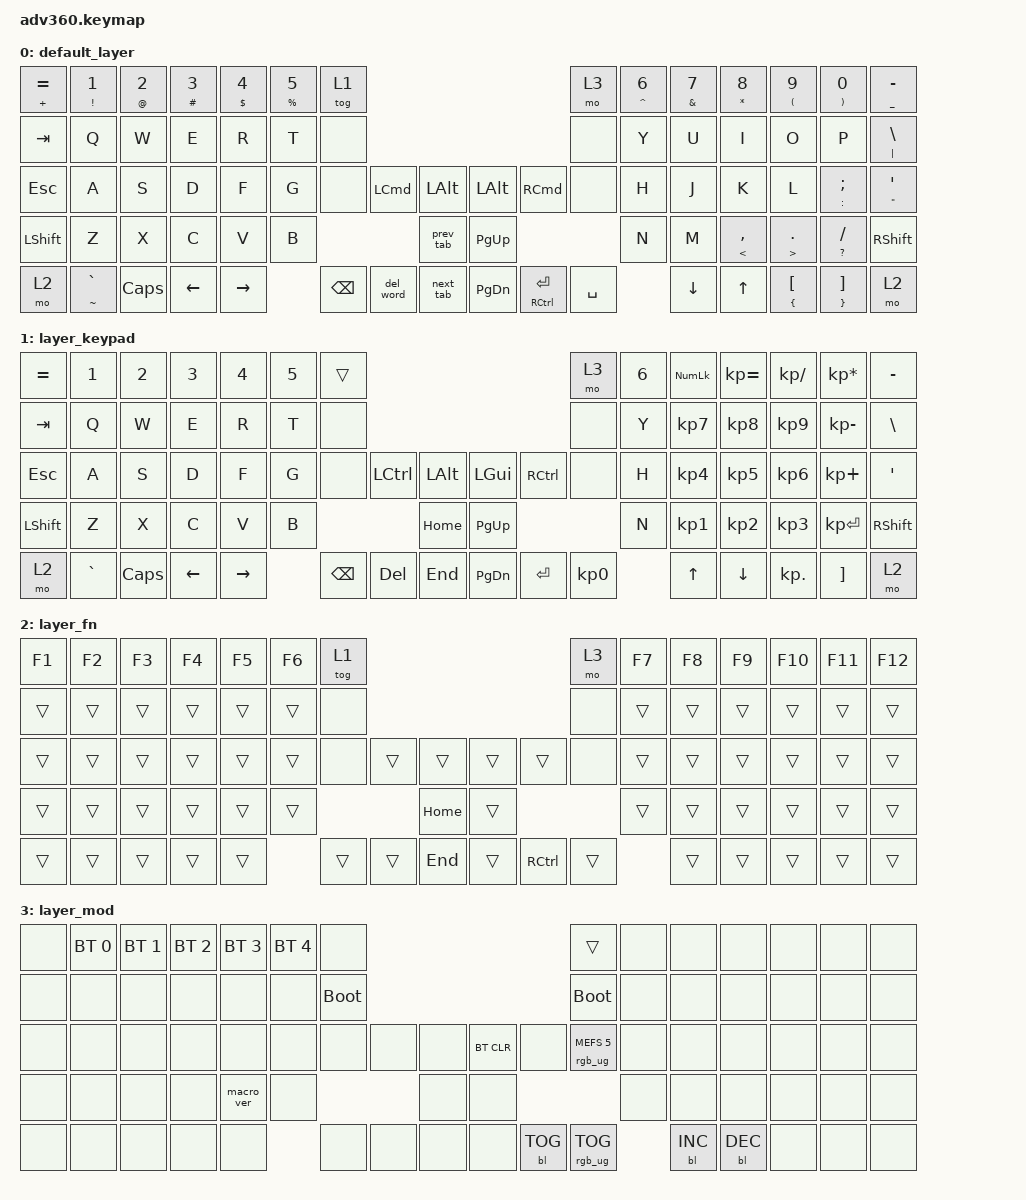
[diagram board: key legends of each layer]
/*
 * Copyright (c) 2020 The ZMK Contributors
 *
 * SPDX-License-Identifier: MIT
 */
/* THIS FILE WAS GENERATED!
 *
 * This file was generated automatically. You may or may not want to
 * edit it directly.
 */

#include <behaviors.dtsi>
#include <dt-bindings/zmk/backlight.h>
#include <dt-bindings/zmk/bt.h>
#include <dt-bindings/zmk/keys.h>
#include <dt-bindings/zmk/rgb.h>

&mt { flavor = "tap-preferred"; };

/ {
    behaviors {
        #include "macros.dtsi"
    #include "version.dtsi"

        hm: homerow_mods {
            compatible = "zmk,behavior-hold-tap";
            label = "HOMEROW_MODS";
            #binding-cells = <2>;
            tapping-term-ms = <200>;
            quick_tap_ms = <175>;
            flavor = "tap-preferred";
            bindings = <&kp>, <&kp>;
        };

        home_key: home_key {
            compatible = "zmk,behavior-hold-tap";
            label = "HOME_KEY";
            bindings = <&kp>, <&prev_tab>;

            #binding-cells = <2>;
            tapping-term-ms = <1>;
            flavor = "tap-preferred";
            hold-trigger-key-positions = <52>;
        };
    };

    macros {
        del_word: del_word {
            compatible = "zmk,behavior-macro";
            #binding-cells = <0>;
            bindings = <&kp LA(BACKSPACE)>;
            label = "DEL_WORD";
        };

        next_tab: next_tab {
            compatible = "zmk,behavior-macro";
            #binding-cells = <0>;
            bindings = <&kp LC(TAB)>;
            label = "NEXT_TAB";
        };

        prev_tab: prev_tab {
            compatible = "zmk,behavior-macro";
            #binding-cells = <0>;
            bindings =
                <&macro_press>,
                <&kp LEFT_SHIFT>,
                <&macro_tap>,
                <&kp LC(TAB)>,
                <&macro_release>,
                <&kp LEFT_SHIFT>;

            label = "PREV_TAB";
        };
    };

    keymap {
        compatible = "zmk,keymap";

        default_layer {
            bindings = <
&mt PLUS EQUAL  &mt EXCL NUMBER_1  &mt AT_SIGN NUMBER_2  &mt HASH NUMBER_3  &mt DOLLAR NUMBER_4  &mt PERCENT N5  &tog 1                                                          &mo 3      &mt CARET NUMBER_6  &mt AMPERSAND N7  &mt ASTERISK N8      &mt LEFT_PARENTHESIS N9      &mt RIGHT_PARENTHESIS N0       &mt UNDER MINUS
&kp TAB         &kp Q              &kp W                 &kp E              &kp R                &kp T           &none                                                           &none      &kp Y               &kp U             &kp I                &kp O                        &kp P                          &mt PIPE BACKSLASH
&kp ESC         &kp A              &kp S                 &kp D              &kp F                &kp G           &none     &kp LCMD   &kp LALT       &kp LALT   &kp RCMD         &none      &kp H               &kp J             &kp K                &kp L                        &mt COLON SEMICOLON            &mt DOUBLE_QUOTES SQT
&kp LSHFT       &kp Z              &kp X                 &kp C              &kp V                &kp B                                &prev_tab      &kp PG_UP                              &kp N               &kp M             &mt LESS_THAN COMMA  &mt GREATER_THAN PERIOD      &mt QUESTION SLASH             &kp RSHFT
&mo 2           &mt TILDE GRAVE    &kp CAPS              &kp LEFT           &kp RIGHT                            &kp BSPC  &del_word  &next_tab      &kp PG_DN  &mt RCTRL ENTER  &kp SPACE                      &kp DOWN          &kp UP               &mt LEFT_BRACE LEFT_BRACKET  &mt RIGHT_BRACE RIGHT_BRACKET  &mo 2
            >;
        };

        layer_keypad {
            bindings = <
&kp EQUAL  &kp N1     &kp N2    &kp N3    &kp N4     &kp N5  &trans                                                   &mo 3      &kp N6  &kp KP_NUM  &kp KP_EQUAL  &kp KP_DIVIDE  &kp KP_MULTIPLY  &kp MINUS
&kp TAB    &kp Q      &kp W     &kp E     &kp R      &kp T   &none                                                    &none      &kp Y   &kp KP_N7   &kp KP_N8     &kp KP_N9      &kp KP_MINUS     &kp BSLH
&kp ESC    &kp A      &kp S     &kp D     &kp F      &kp G   &none     &kp LCTRL  &kp LALT      &kp LGUI   &kp RCTRL  &none      &kp H   &kp KP_N4   &kp KP_N5     &kp KP_N6      &kp KP_PLUS      &kp SQT
&kp LSHFT  &kp Z      &kp X     &kp C     &kp V      &kp B                        &kp HOME      &kp PG_UP                        &kp N   &kp KP_N1   &kp KP_N2     &kp KP_N3      &kp KP_ENTER     &kp RSHFT
&mo 2      &kp GRAVE  &kp CAPS  &kp LEFT  &kp RIGHT          &kp BSPC  &kp DEL    &kp END       &kp PG_DN  &kp ENTER  &kp KP_N0          &kp UP      &kp DOWN      &kp KP_DOT     &kp RBKT         &mo 2
            >;
        };

        layer_fn {
            bindings = <
&kp F1  &kp F2  &kp F3  &kp F4  &kp F5  &kp F6  &tog 1                                           &mo 3   &kp F7  &kp F8  &kp F9  &kp F10  &kp F11  &kp F12
&trans  &trans  &trans  &trans  &trans  &trans  &none                                            &none   &trans  &trans  &trans  &trans   &trans   &trans
&trans  &trans  &trans  &trans  &trans  &trans  &none   &trans  &trans        &trans  &trans     &none   &trans  &trans  &trans  &trans   &trans   &trans
&trans  &trans  &trans  &trans  &trans  &trans                  &kp HOME      &trans                     &trans  &trans  &trans  &trans   &trans   &trans
&trans  &trans  &trans  &trans  &trans          &trans  &trans  &kp END       &trans  &kp RCTRL  &trans          &trans  &trans  &trans   &trans   &trans
            >;
        };

        layer_mod {
            bindings = <
&none  &bt BT_SEL 0  &bt BT_SEL 1  &bt BT_SEL 2  &bt BT_SEL 3  &bt BT_SEL 4  &none                                                  &trans                  &none  &none       &none       &none  &none  &none
&none  &none         &none         &none         &none         &none         &bootloader                                            &bootloader             &none  &none       &none       &none  &none  &none
&none  &none         &none         &none         &none         &none         &none        &none  &none      &bt BT_CLR  &none       &rgb_ug RGB_MEFS_CMD 5  &none  &none       &none       &none  &none  &none
&none  &none         &none         &none         &macro_ver    &none                             &none      &none                                           &none  &none       &none       &none  &none  &none
&none  &none         &none         &none         &none                       &none        &none  &none      &none       &bl BL_TOG  &rgb_ug RGB_TOG                &bl BL_INC  &bl BL_DEC  &none  &none  &none
            >;
        };
    };
};
